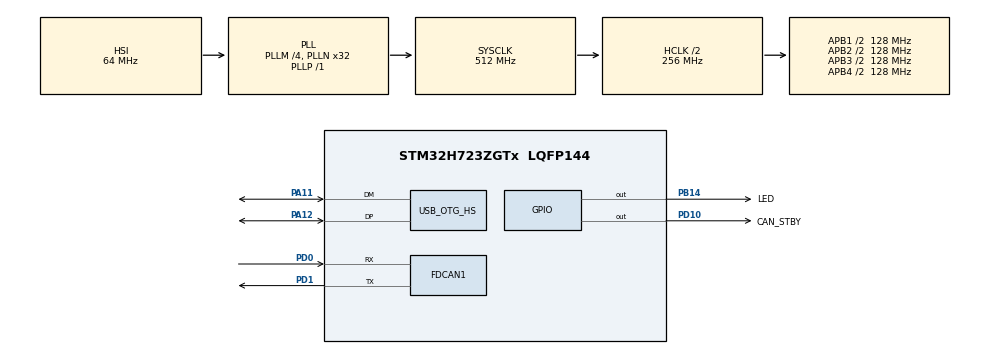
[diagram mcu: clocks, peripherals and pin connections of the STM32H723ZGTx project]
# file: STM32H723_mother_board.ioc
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CORTEX_M7.default_mode_Activation=1
FDCAN1.AutoRetransmission=ENABLE
FDCAN1.CalculateBaudRateNominal=1000000
FDCAN1.CalculateTimeBitNominal=1000
FDCAN1.CalculateTimeQuantumNominal=333.3333333333333
FDCAN1.ExtFiltersNbr=1
FDCAN1.RxFifo0ElmtSize=FDCAN_DATA_BYTES_8
FDCAN1.RxFifo0ElmtsNbr=8
FDCAN1.TxFifoQueueElmtsNbr=8
FDCAN1.TxFifoQueueMode=FDCAN_TX_FIFO_OPERATION
FREERTOS.BinarySemaphores01=usb_tx_sem,Dynamic,NULL,Available
FREERTOS.Tasks01=task_can_handle,41,256,start_task_can_handler,Default,NULL,Dynamic,NULL,NULL;task_usb_handle,42,512,start_task_usb_handler,Default,NULL,Dynamic,NULL,NULL;task_dispatcher,16,2048,start_task_dispatcher,Default,NULL,Dynamic,NULL,NULL;task_watchdog,40,128,start_task_watchdog,Default,NULL,Dynamic,NULL,NULL;task_jobs_monit,8,768,start_task_jobs_monitor,Default,NULL,Dynamic,NULL,NULL;task_logger,9,256,start_task_logger,Default,NULL,Dynamic,NULL,NULL
FREERTOS.configTOTAL_HEAP_SIZE=65536
FREERTOS.configUSE_NEWLIB_REENTRANT=1
IWDG1.Prescaler=IWDG_PRESCALER_256
IWDG1.Reload=999
IWDG1.Window=4095
Mcu.Family=STM32H7
Mcu.Name=STM32H723ZGTx
Mcu.Package=LQFP144
NVIC.FDCAN1_IT0_IRQn=true\:5\:0\:false\:false\:true\:true\:true\:true\:true
NVIC.FDCAN1_IT1_IRQn=true\:5\:0\:false\:false\:true\:true\:true\:true\:true
NVIC.OTG_HS_IRQn=true\:5\:0\:false\:false\:true\:true\:false\:true\:true
NVIC.PriorityGroup=NVIC_PRIORITYGROUP_4
NVIC.TIM6_DAC_IRQn=true\:15\:0\:false\:false\:true\:false\:false\:true\:true
NVIC.TimeBase=TIM6_DAC_IRQn
NVIC.TimeBaseIP=TIM6
PA11.Mode=Device_Only_FS
PA11.Signal=USB_OTG_HS_DM
PA12.Mode=Device_Only_FS
PA12.Signal=USB_OTG_HS_DP
PB14.GPIO_Label=LED
PB14.Signal=GPIO_Output
PD0.GPIO_Speed=GPIO_SPEED_FREQ_VERY_HIGH
PD0.Mode=FDCAN_Activate
PD0.Signal=FDCAN1_RX
PD1.GPIO_Speed=GPIO_SPEED_FREQ_VERY_HIGH
PD1.Mode=FDCAN_Activate
PD1.Signal=FDCAN1_TX
PD10.GPIO_Label=CAN_STBY
PD10.Signal=GPIO_Output
ProjectManager.HeapSize=0x200
ProjectManager.StackSize=0x400
ProjectManager.TargetToolchain=STM32CubeIDE
RCC.ADCFreq_Value=96000000
RCC.APB1Freq_Value=128000000
RCC.APB2Freq_Value=128000000
RCC.APB3Freq_Value=128000000
RCC.APB4Freq_Value=128000000
RCC.CortexFreq_Value=512000000
RCC.D1PPRE=RCC_APB3_DIV2
RCC.D2PPRE1=RCC_APB1_DIV2
RCC.D2PPRE2=RCC_APB2_DIV2
RCC.D3PPRE=RCC_APB4_DIV2
RCC.DIVM1=4
RCC.DIVM2=4
RCC.DIVN1=32
RCC.DIVN2=12
RCC.DIVP1=1
RCC.DIVQ1=4
RCC.DIVQ2=4
RCC.FDCANCLockSelection=RCC_FDCANCLKSOURCE_PLL2
RCC.HCLKFreq_Value=256000000
RCC.HPRE=RCC_HCLK_DIV2
RCC.PLLFRACN=0
RCC.SYSCLKFreq_VALUE=512000000
RCC.SYSCLKSource=RCC_SYSCLKSOURCE_PLLCLK
RCC.USBCLockSelection=RCC_USBCLKSOURCE_HSI48
RCC.USBFreq_Value=48000000
USB_DEVICE.CLASS_NAME_HS=CDC
USB_DEVICE.VirtualMode=Cdc
USB_DEVICE.VirtualModeHS=Cdc_HS
USB_OTG_HS.VirtualMode-Device_Only_FS=Device_Only_FS
VP_FREERTOS_VS_CMSIS_V2.Mode=CMSIS_V2
VP_IWDG1_VS_IWDG.Mode=IWDG_Activate
VP_MEMORYMAP_VS_MEMORYMAP.Mode=CurAppReg
VP_SYS_VS_tim6.Mode=TIM6
VP_USB_DEVICE_VS_USB_DEVICE_CDC_HS.Mode=CDC_HS
board=custom

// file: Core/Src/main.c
/* USER CODE BEGIN Header */
/**
  ******************************************************************************
  * @file           : main.c
  * @brief          : Main program body
  ******************************************************************************
  * @attention
  *
  * Copyright (c) 2025 STMicroelectronics.
  * All rights reserved.
  *
  * This software is licensed under terms that can be found in the LICENSE file
  * in the root directory of this software component.
  * If no LICENSE file comes with this software, it is provided AS-IS.
  *
  ******************************************************************************
  */
/* USER CODE END Header */
#include "main.h"
#include "cmsis_os.h"
#include "usb_device.h"

/* USER CODE BEGIN Includes */
#include "Dispatcher/dispatcher_io.h"
#include "task_dispatcher.h"
#include "task_can_handler.h"
#include "task_usb_handler.h"
#include "task_watchdog.h"
#include "task_jobs_monitor.h"
#include "task_logger.h"
#include "Dispatcher/can_packer.h"
#include "shared_resources.h"
#include "app_config.h"
#include "app_init_checker.h"
#include "app_safety.h"
#include "Dispatcher/can_response_router.h"

/* USER CODE END Includes */

FDCAN_HandleTypeDef hfdcan1;

IWDG_HandleTypeDef hiwdg1;

/* Definitions for task_can_handle */
osThreadId_t task_can_handleHandle;
const osThreadAttr_t task_can_handle_attributes = {
  .name = "task_can_handle",
  .stack_size = 256 * 4,
  .priority = (osPriority_t) osPriorityHigh1,
};
/* Definitions for task_usb_handle */
osThreadId_t task_usb_handleHandle;
const osThreadAttr_t task_usb_handle_attributes = {
  .name = "task_usb_handle",
  .stack_size = 512 * 4,
  .priority = (osPriority_t) osPriorityHigh2,
};
/* Definitions for task_dispatcher */
osThreadId_t task_dispatcherHandle;
const osThreadAttr_t task_dispatcher_attributes = {
  .name = "task_dispatcher",
  .stack_size = 2048 * 4,
  .priority = (osPriority_t) osPriorityBelowNormal,
};
/* Definitions for task_watchdog */
osThreadId_t task_watchdogHandle;
const osThreadAttr_t task_watchdog_attributes = {
  .name = "task_watchdog",
  .stack_size = 128 * 4,
  .priority = (osPriority_t) osPriorityHigh,
};
/* Definitions for task_jobs_monit */
osThreadId_t task_jobs_monitHandle;
const osThreadAttr_t task_jobs_monit_attributes = {
  .name = "task_jobs_monit",
  .stack_size = 768 * 4,
  .priority = (osPriority_t) osPriorityLow,
};
/* Definitions for task_logger */
osThreadId_t task_loggerHandle;
const osThreadAttr_t task_logger_attributes = {
  .name = "task_logger",
  .stack_size = 256 * 4,
  .priority = (osPriority_t) osPriorityLow1,
};
/* Definitions for usb_tx_sem */
osSemaphoreId_t usb_tx_semHandle;
const osSemaphoreAttr_t usb_tx_sem_attributes = {
  .name = "usb_tx_sem"
};
/* USER CODE BEGIN PV */

QueueHandle_t usb_rx_queue_handle;
QueueHandle_t usb_tx_queue_handle;
QueueHandle_t can_rx_queue_handle;
QueueHandle_t can_job_rx_queue_handle;
QueueHandle_t can_service_rx_queue_handle;
QueueHandle_t can_safety_rx_queue_handle;
QueueHandle_t can_host_direct_rx_queue_handle;
QueueHandle_t can_tx_queue_handle;
QueueHandle_t log_queue_handle;

StreamBufferHandle_t usb_rx_stream_buffer_handle; // <-- ДОБАВЛЕНО

/* USER CODE END PV */

void SystemClock_Config(void);
static void MPU_Config(void);
static void MX_GPIO_Init(void);
static void MX_FDCAN1_Init(void);
static void MX_IWDG1_Init(void);
void start_task_can_handler(void *argument);
void start_task_usb_handler(void *argument);
void start_task_dispatcher(void *argument);
void start_task_watchdog(void *argument);
void start_task_jobs_monitor(void *argument);
void start_task_logger(void *argument);

int main(void)
{

  /* MPU Configuration--------------------------------------------------------*/
  MPU_Config();

  /* MCU Configuration--------------------------------------------------------*/

  /* Reset of all peripherals, Initializes the Flash interface and the Systick. */
  HAL_Init();

  /* USER CODE BEGIN Init */
  AppSafety_CaptureResetCause();

  /* USER CODE END Init */

  /* Configure the system clock */
  SystemClock_Config();

  /* Initialize all configured peripherals */
  MX_GPIO_Init();
  MX_FDCAN1_Init();
  MX_IWDG1_Init();

  /* Init scheduler */
  osKernelInitialize();

  /* Create the semaphores(s) */
  /* creation of usb_tx_sem */
  usb_tx_semHandle = osSemaphoreNew(1, 1, &usb_tx_sem_attributes);

  /* USER CODE BEGIN RTOS_QUEUES */
  /* add queues, ... */
  usb_rx_queue_handle = xQueueCreate(APP_USB_RX_QUEUE_LENGTH, APP_USB_CMD_MAX_LEN); // 10 команд, каждая до 256 байт
  //usb_tx_queue_handle = xQueueCreate(APP_USB_TX_QUEUE_LENGTH, APP_USB_RESP_MAX_LEN); // 10 ответов, каждая до 256 байт (пока)
  usb_tx_queue_handle = xQueueCreate(APP_USB_TX_QUEUE_LENGTH, sizeof(USB_TxPacket_t));

// Для CAN передаются структурированные сообщения.
// changed 03/03/2026
// Элемент очереди — абстрактный CAN_Message_t (can_packer.h).
// task_can_handler конвертирует в HAL-формат перед отправкой.
can_rx_queue_handle = xQueueCreate(APP_CAN_RX_QUEUE_LENGTH, sizeof(CAN_Message_t));
can_job_rx_queue_handle = xQueueCreate(APP_CAN_JOB_RX_QUEUE_LENGTH, sizeof(CanRoutedResponse_t));
can_service_rx_queue_handle = xQueueCreate(APP_CAN_SERVICE_RX_QUEUE_LENGTH, sizeof(CanRoutedResponse_t));
can_safety_rx_queue_handle = xQueueCreate(APP_CAN_SAFETY_RX_QUEUE_LENGTH, sizeof(CanRoutedResponse_t));
can_host_direct_rx_queue_handle = xQueueCreate(APP_CAN_HOST_DIRECT_RX_QUEUE_LENGTH, sizeof(CanRoutedResponse_t));
can_tx_queue_handle = xQueueCreate(APP_CAN_TX_QUEUE_LENGTH, sizeof(CAN_Message_t));

log_queue_handle = xQueueCreate(APP_LOG_QUEUE_LENGTH, sizeof(LoggerMessage_t)); // Логическая очередь логов; sink подключает task_logger.

/* Cоздаем Stream Buffer для бинарных данных USB */
// Размер буфера 1024 байта, задача будет разблокирована при поступлении хотя бы 1 байта
  usb_rx_stream_buffer_handle = xStreamBufferCreate(1024, 1); // <-- ДОБАВЛЕНО

  app_init_checker_verifyqueues();

  /* USER CODE END RTOS_QUEUES */

  /* Create the thread(s) */
  /* creation of task_can_handle */
  task_can_handleHandle = osThreadNew(start_task_can_handler, NULL, &task_can_handle_attributes);

  /* creation of task_usb_handle */
  task_usb_handleHandle = osThreadNew(start_task_usb_handler, NULL, &task_usb_handle_attributes);

  /* creation of task_dispatcher */
  task_dispatcherHandle = osThreadNew(start_task_dispatcher, NULL, &task_dispatcher_attributes);

  /* creation of task_watchdog */
  task_watchdogHandle = osThreadNew(start_task_watchdog, NULL, &task_watchdog_attributes);

  /* creation of task_jobs_monit */
  task_jobs_monitHandle = osThreadNew(start_task_jobs_monitor, NULL, &task_jobs_monit_attributes);

  /* creation of task_logger */
  task_loggerHandle = osThreadNew(start_task_logger, NULL, &task_logger_attributes);

  /* USER CODE BEGIN RTOS_THREADS */
  app_init_checker_verifytasks();
  /* USER CODE END RTOS_THREADS */

  /* Start scheduler */
  osKernelStart();

  /* We should never get here as control is now taken by the scheduler */

  /* Infinite loop */
  while (1)
  {

  }
}

void SystemClock_Config(void)
{
  RCC_OscInitTypeDef RCC_OscInitStruct = {0};
  RCC_ClkInitTypeDef RCC_ClkInitStruct = {0};

  /** Supply configuration update enable
  */
  HAL_PWREx_ConfigSupply(PWR_LDO_SUPPLY);

  /** Configure the main internal regulator output voltage
  */
  __HAL_PWR_VOLTAGESCALING_CONFIG(PWR_REGULATOR_VOLTAGE_SCALE0);

  while(!__HAL_PWR_GET_FLAG(PWR_FLAG_VOSRDY)) {}

  /** Initializes the RCC Oscillators according to the specified parameters
  * in the RCC_OscInitTypeDef structure.
  */
  RCC_OscInitStruct.OscillatorType = RCC_OSCILLATORTYPE_HSI48|RCC_OSCILLATORTYPE_HSI
                              |RCC_OSCILLATORTYPE_LSI;
  RCC_OscInitStruct.HSIState = RCC_HSI_DIV1;
  RCC_OscInitStruct.HSICalibrationValue = 64;
  RCC_OscInitStruct.LSIState = RCC_LSI_ON;
  RCC_OscInitStruct.HSI48State = RCC_HSI48_ON;
  RCC_OscInitStruct.PLL.PLLState = RCC_PLL_ON;
  RCC_OscInitStruct.PLL.PLLSource = RCC_PLLSOURCE_HSI;
  RCC_OscInitStruct.PLL.PLLM = 4;
  RCC_OscInitStruct.PLL.PLLN = 32;
  RCC_OscInitStruct.PLL.PLLP = 1;
  RCC_OscInitStruct.PLL.PLLQ = 4;
  RCC_OscInitStruct.PLL.PLLR = 2;
  RCC_OscInitStruct.PLL.PLLRGE = RCC_PLL1VCIRANGE_3;
  RCC_OscInitStruct.PLL.PLLVCOSEL = RCC_PLL1VCOWIDE;
  RCC_OscInitStruct.PLL.PLLFRACN = 0;
  if (HAL_RCC_OscConfig(&RCC_OscInitStruct) != HAL_OK)
  {
    Error_Handler();
  }

  /** Initializes the CPU, AHB and APB buses clocks
  */
  RCC_ClkInitStruct.ClockType = RCC_CLOCKTYPE_HCLK|RCC_CLOCKTYPE_SYSCLK
                              |RCC_CLOCKTYPE_PCLK1|RCC_CLOCKTYPE_PCLK2
                              |RCC_CLOCKTYPE_D3PCLK1|RCC_CLOCKTYPE_D1PCLK1;
  RCC_ClkInitStruct.SYSCLKSource = RCC_SYSCLKSOURCE_PLLCLK;
  RCC_ClkInitStruct.SYSCLKDivider = RCC_SYSCLK_DIV1;
  RCC_ClkInitStruct.AHBCLKDivider = RCC_HCLK_DIV2;
  RCC_ClkInitStruct.APB3CLKDivider = RCC_APB3_DIV2;
  RCC_ClkInitStruct.APB1CLKDivider = RCC_APB1_DIV2;
  RCC_ClkInitStruct.APB2CLKDivider = RCC_APB2_DIV2;
  RCC_ClkInitStruct.APB4CLKDivider = RCC_APB4_DIV2;

  if (HAL_RCC_ClockConfig(&RCC_ClkInitStruct, FLASH_LATENCY_3) != HAL_OK)
  {
    Error_Handler();
  }
}

static void MX_FDCAN1_Init(void)
{

  hfdcan1.Instance = FDCAN1;
  hfdcan1.Init.FrameFormat = FDCAN_FRAME_CLASSIC;
  hfdcan1.Init.Mode = FDCAN_MODE_NORMAL;
  hfdcan1.Init.AutoRetransmission = ENABLE;
  hfdcan1.Init.TransmitPause = DISABLE;
  hfdcan1.Init.ProtocolException = DISABLE;
  hfdcan1.Init.NominalPrescaler = 16;
  hfdcan1.Init.NominalSyncJumpWidth = 1;
  hfdcan1.Init.NominalTimeSeg1 = 1;
  hfdcan1.Init.NominalTimeSeg2 = 1;
  hfdcan1.Init.DataPrescaler = 1;
  hfdcan1.Init.DataSyncJumpWidth = 1;
  hfdcan1.Init.DataTimeSeg1 = 1;
  hfdcan1.Init.DataTimeSeg2 = 1;
  hfdcan1.Init.MessageRAMOffset = 0;
  hfdcan1.Init.StdFiltersNbr = 0;
  hfdcan1.Init.ExtFiltersNbr = 1;
  hfdcan1.Init.RxFifo0ElmtsNbr = 8;
  hfdcan1.Init.RxFifo0ElmtSize = FDCAN_DATA_BYTES_8;
  hfdcan1.Init.RxFifo1ElmtsNbr = 0;
  hfdcan1.Init.RxFifo1ElmtSize = FDCAN_DATA_BYTES_8;
  hfdcan1.Init.RxBuffersNbr = 0;
  hfdcan1.Init.RxBufferSize = FDCAN_DATA_BYTES_8;
  hfdcan1.Init.TxEventsNbr = 0;
  hfdcan1.Init.TxBuffersNbr = 0;
  hfdcan1.Init.TxFifoQueueElmtsNbr = 8;
  hfdcan1.Init.TxFifoQueueMode = FDCAN_TX_FIFO_OPERATION;
  hfdcan1.Init.TxElmtSize = FDCAN_DATA_BYTES_8;
  if (HAL_FDCAN_Init(&hfdcan1) != HAL_OK)
  {
    Error_Handler();
  }
  /* USER CODE BEGIN FDCAN1_Init 2 */
  FDCAN_FilterTypeDef sFilterConfig = {0};

  sFilterConfig.IdType = FDCAN_EXTENDED_ID;
  sFilterConfig.FilterIndex = 0;
  sFilterConfig.FilterType = FDCAN_FILTER_MASK;
  sFilterConfig.FilterConfig = FDCAN_FILTER_TO_RXFIFO0;
  sFilterConfig.FilterID1 = CAN_BUILD_ID(0, 0, CAN_ADDR_CONDUCTOR, 0);
  sFilterConfig.FilterID2 = 0x00FF0000U;

  if (HAL_FDCAN_ConfigFilter(&hfdcan1, &sFilterConfig) != HAL_OK)
  {
    Error_Handler();
  }

  if (HAL_FDCAN_ConfigGlobalFilter(&hfdcan1,
                                   FDCAN_REJECT,
                                   FDCAN_REJECT,
                                   FDCAN_REJECT_REMOTE,
                                   FDCAN_REJECT_REMOTE) != HAL_OK)
  {
    Error_Handler();
  }

  /* USER CODE END FDCAN1_Init 2 */

}

static void MX_IWDG1_Init(void)
{

  hiwdg1.Instance = IWDG1;
  hiwdg1.Init.Prescaler = IWDG_PRESCALER_256;
  hiwdg1.Init.Window = 4095;
  hiwdg1.Init.Reload = 999;
  if (HAL_IWDG_Init(&hiwdg1) != HAL_OK)
  {
    Error_Handler();
  }

}

static void MX_GPIO_Init(void)
{
  GPIO_InitTypeDef GPIO_InitStruct = {0};

  /* GPIO Ports Clock Enable */
  __HAL_RCC_GPIOB_CLK_ENABLE();
  __HAL_RCC_GPIOD_CLK_ENABLE();
  __HAL_RCC_GPIOA_CLK_ENABLE();

  /*Configure GPIO pin Output Level */
  HAL_GPIO_WritePin(LED_GPIO_Port, LED_Pin, GPIO_PIN_RESET);

  /*Configure GPIO pin Output Level */
  HAL_GPIO_WritePin(CAN_STBY_GPIO_Port, CAN_STBY_Pin, GPIO_PIN_RESET);

  /*Configure GPIO pin : LED_Pin */
  GPIO_InitStruct.Pin = LED_Pin;
  GPIO_InitStruct.Mode = GPIO_MODE_OUTPUT_PP;
  GPIO_InitStruct.Pull = GPIO_NOPULL;
  GPIO_InitStruct.Speed = GPIO_SPEED_FREQ_LOW;
  HAL_GPIO_Init(LED_GPIO_Port, &GPIO_InitStruct);

  /*Configure GPIO pin : CAN_STBY_Pin */
  GPIO_InitStruct.Pin = CAN_STBY_Pin;
  GPIO_InitStruct.Mode = GPIO_MODE_OUTPUT_PP;
  GPIO_InitStruct.Pull = GPIO_NOPULL;
  GPIO_InitStruct.Speed = GPIO_SPEED_FREQ_LOW;
  HAL_GPIO_Init(CAN_STBY_GPIO_Port, &GPIO_InitStruct);

}

void start_task_can_handler(void *argument)
{
  /* init code for USB_DEVICE */
  //MX_USB_DEVICE_Init();
  /* USER CODE BEGIN 5 */
app_start_task_can_handler(argument);
  /* Infinite loop */
  for(;;)
  {
    osDelay(1);
  }
  /* USER CODE END 5 */
}

void start_task_usb_handler(void *argument)
{
  /* USER CODE BEGIN start_task_usb_handler */
  app_start_task_usb_handler(argument);

  /* Infinite loop */
  for(;;)
  {
    osDelay(1);
  }
  /* USER CODE END start_task_usb_handler */
}

void start_task_dispatcher(void *argument)
{
  /* USER CODE BEGIN start_task_dispatcher */

 app_start_task_dispatcher(argument);

 /* Infinite loop */
 // этот код никогда не выполнится, но мы его не трогаем

  for(;;)
  {
    osDelay(1);
  }
  /* USER CODE END start_task_dispatcher */
}

void start_task_watchdog(void *argument)
{
  /* USER CODE BEGIN start_task_watchdog */
  app_start_task_watchdog(argument);
  /* Infinite loop */
  for(;;)
  {
    osDelay(1);
  }
  /* USER CODE END start_task_watchdog */
}

void start_task_jobs_monitor(void *argument)
{
  /* USER CODE BEGIN start_task_jobs_monitor */

	app_start_task_jobs_monitor(argument);
  /* Infinite loop */
  for(;;)
  {
    osDelay(1);
  }
  /* USER CODE END start_task_jobs_monitor */
}

/* USER CODE BEGIN Header_start_task_logger */
/**
* @brief Function implementing the task_logger thread.
* @param argument: Not used
* @retval None
*///HAL_GPIO_TogglePin(LED_GPIO_Port, LED_Pin);
/* USER CODE END Header_start_task_logger */
void start_task_logger(void *argument)
{
  /* USER CODE BEGIN start_task_logger */
  app_start_task_logger(argument);
  /* Infinite loop */
  for(;;)
  {
    osDelay(1);
  }
  /* USER CODE END start_task_logger */
}

 /* MPU Configuration */

void MPU_Config(void)
{
  MPU_Region_InitTypeDef MPU_InitStruct = {0};

  /* Disables the MPU */
  HAL_MPU_Disable();

  /** Initializes and configures the Region and the memory to be protected
  */
  MPU_InitStruct.Enable = MPU_REGION_ENABLE;
  MPU_InitStruct.Number = MPU_REGION_NUMBER0;
  MPU_InitStruct.BaseAddress = 0x0;
  MPU_InitStruct.Size = MPU_REGION_SIZE_4GB;
  MPU_InitStruct.SubRegionDisable = 0x87;
  MPU_InitStruct.TypeExtField = MPU_TEX_LEVEL0;
  MPU_InitStruct.AccessPermission = MPU_REGION_NO_ACCESS;
  MPU_InitStruct.DisableExec = MPU_INSTRUCTION_ACCESS_DISABLE;
  MPU_InitStruct.IsShareable = MPU_ACCESS_SHAREABLE;
  MPU_InitStruct.IsCacheable = MPU_ACCESS_NOT_CACHEABLE;
  MPU_InitStruct.IsBufferable = MPU_ACCESS_NOT_BUFFERABLE;

  HAL_MPU_ConfigRegion(&MPU_InitStruct);
  /* Enables the MPU */
  HAL_MPU_Enable(MPU_PRIVILEGED_DEFAULT);

}

void HAL_TIM_PeriodElapsedCallback(TIM_HandleTypeDef *htim)
{
  if (htim->Instance == TIM6)
  {
    HAL_IncTick();
  }
}

void Error_Handler(void)
{
  /* USER CODE BEGIN Error_Handler_Debug */
  AppSafety_OnFatalError();

  __disable_irq();
  while (1)
  {
  }
  /* USER CODE END Error_Handler_Debug */
}
